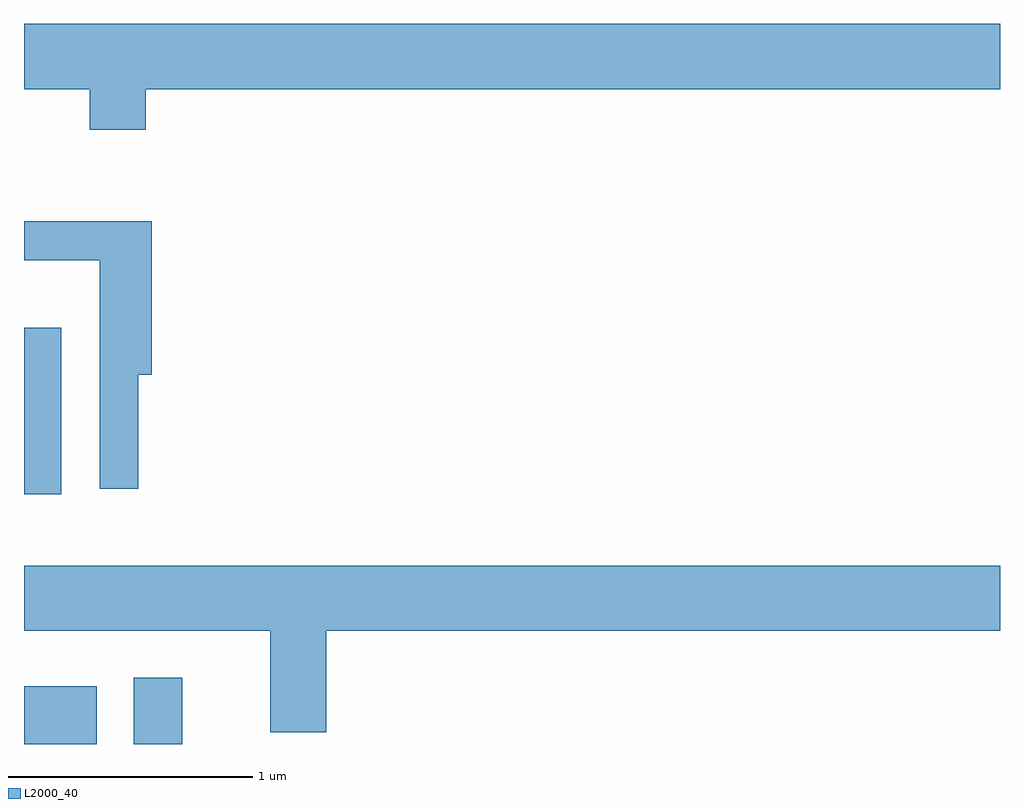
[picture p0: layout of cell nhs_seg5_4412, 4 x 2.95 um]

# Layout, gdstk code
import gdstk
lib = gdstk.Library(unit=1e-6, precision=1e-09)
def R(c, l, rs):  # rectangles x0, y0, x1, y1
    for r in rs: c.add(gdstk.rectangle(r[:2], r[2:], *l))
def P(c, l, *ps):  # polygons
    for p in ps: c.add(gdstk.Polygon(p, *l))
L2000_40 = (2000, 40)

nhs_seg5_4412 = lib.new_cell('nhs_seg5_4412')
R(nhs_seg5_4412, L2000_40, [(315.611,1494.072,315.909,1494.309), (316.061,1494.072,316.259,1494.344), (315.611,1495.096,315.764,1495.779)])
P(nhs_seg5_4412, L2000_40, [(316.109,1496.756),(319.611,1496.756),(319.611,1497.024),(315.611,1497.024),(315.611,1496.756),(315.881,1496.756),(315.881,1496.591),(316.109,1496.591)],
  [(316.079,1495.586),(316.134,1495.586),(316.134,1496.214),(315.611,1496.214),(315.611,1496.056),(315.921,1496.056),(315.921,1495.118),(316.079,1495.118)],
  [(316.849,1494.536),(319.611,1494.536),(319.611,1494.804),(315.611,1494.804),(315.611,1494.536),(316.621,1494.536),(316.621,1494.121),(316.849,1494.121)])

lib.write_gds('nhs_seg5_4412.gds')
